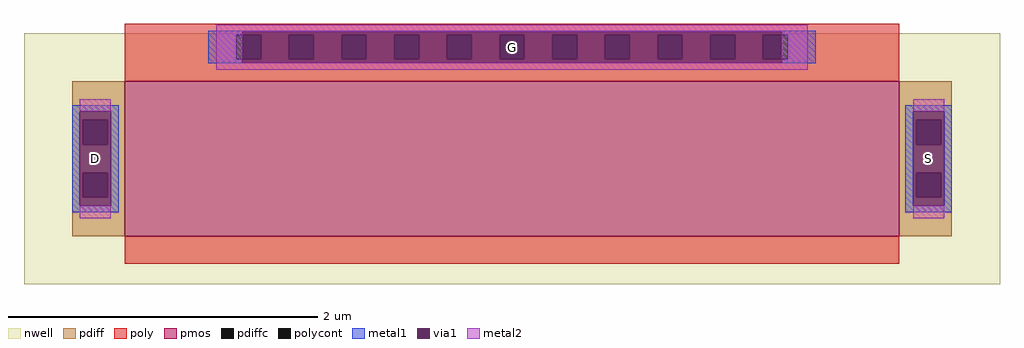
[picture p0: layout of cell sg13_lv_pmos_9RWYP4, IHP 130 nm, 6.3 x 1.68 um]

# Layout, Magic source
magic
tech ihp-sg13g2
magscale 1 2
<< nwell >>
rect -630 -181 630 143
<< pmos >>
rect -500 -119 500 81
<< pdiff >>
rect -568 31 -500 81
rect -568 -1 -554 31
rect -522 -1 -500 31
rect -568 -37 -500 -1
rect -568 -69 -554 -37
rect -522 -69 -500 -37
rect -568 -119 -500 -69
rect 500 31 568 81
rect 500 -1 522 31
rect 554 -1 568 31
rect 500 -37 568 -1
rect 500 -69 522 -37
rect 554 -69 568 -37
rect 500 -119 568 -69
<< pdiffc >>
rect -554 -1 -522 31
rect -554 -69 -522 -37
rect 522 -1 554 31
rect 522 -69 554 -37
<< poly >>
rect -500 141 500 155
rect -500 109 -356 141
rect -324 109 -288 141
rect -256 109 -220 141
rect -188 109 -152 141
rect -120 109 -84 141
rect -52 109 -16 141
rect 16 109 52 141
rect 84 109 120 141
rect 152 109 188 141
rect 220 109 256 141
rect 288 109 324 141
rect 356 109 500 141
rect -500 81 500 109
rect -500 -155 500 -119
<< polycont >>
rect -356 109 -324 141
rect -288 109 -256 141
rect -220 109 -188 141
rect -152 109 -120 141
rect -84 109 -52 141
rect -16 109 16 141
rect 52 109 84 141
rect 120 109 152 141
rect 188 109 220 141
rect 256 109 288 141
rect 324 109 356 141
<< metal1 >>
rect -392 145 392 146
rect -392 141 -348 145
rect 348 141 392 145
rect -392 109 -356 141
rect 356 109 392 141
rect -392 105 -348 109
rect 348 105 392 109
rect -392 104 392 105
rect -568 42 -508 50
rect -568 -80 -558 42
rect -518 -80 -508 42
rect -568 -88 -508 -80
rect 508 42 568 50
rect 508 -80 518 42
rect 558 -80 568 42
rect 508 -88 568 -80
<< via1 >>
rect -348 141 348 145
rect -348 109 -324 141
rect -324 109 -288 141
rect -288 109 -256 141
rect -256 109 -220 141
rect -220 109 -188 141
rect -188 109 -152 141
rect -152 109 -120 141
rect -120 109 -84 141
rect -84 109 -52 141
rect -52 109 -16 141
rect -16 109 16 141
rect 16 109 52 141
rect 52 109 84 141
rect 84 109 120 141
rect 120 109 152 141
rect 152 109 188 141
rect 188 109 220 141
rect 220 109 256 141
rect 256 109 288 141
rect 288 109 324 141
rect 324 109 348 141
rect -348 105 348 109
rect -558 31 -518 42
rect -558 -1 -554 31
rect -554 -1 -522 31
rect -522 -1 -518 31
rect -558 -37 -518 -1
rect -558 -69 -554 -37
rect -554 -69 -522 -37
rect -522 -69 -518 -37
rect -558 -80 -518 -69
rect 518 31 558 42
rect 518 -1 522 31
rect 522 -1 554 31
rect 554 -1 558 31
rect 518 -37 558 -1
rect 518 -69 522 -37
rect 522 -69 554 -37
rect 554 -69 558 -37
rect 518 -80 558 -69
<< metal2 >>
rect -382 145 382 154
rect -382 105 -348 145
rect 348 105 382 145
rect -382 96 382 105
rect -558 42 -518 58
rect -558 -96 -518 -80
rect 518 42 558 58
rect 518 -96 558 -80
<< labels >>
rlabel metal1 s -538 -19 -538 -19 4 D
rlabel metal1 s 538 -19 538 -19 4 S
rlabel metal1 s 0 125 0 125 4 G
<< end >>
